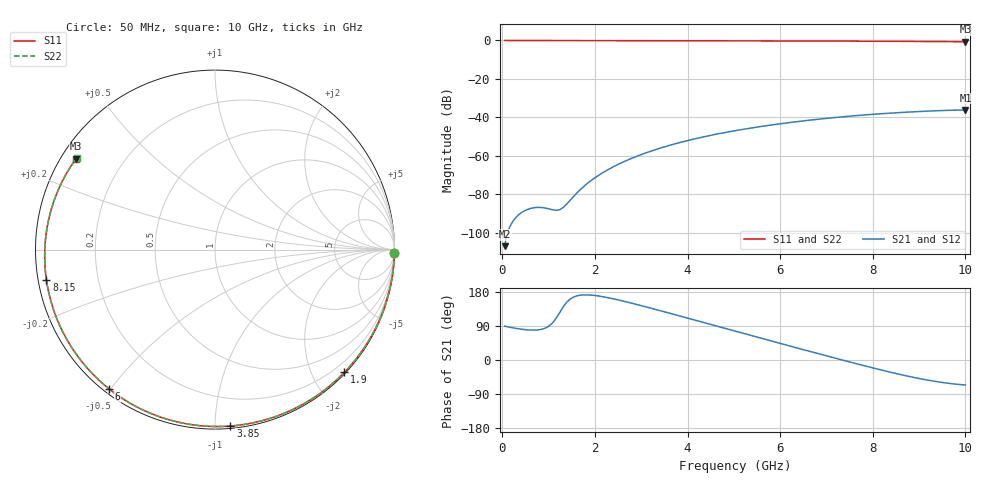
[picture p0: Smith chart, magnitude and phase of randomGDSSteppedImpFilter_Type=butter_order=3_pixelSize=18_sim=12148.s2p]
! freq	dB(S11)	phase(S11)	dB(S12)	phase(S12)
!  dB(S21)	phase(S21)	dB(S22)	phase(S22)
!S-par simulation data
#  GHz  S  DB  R 50
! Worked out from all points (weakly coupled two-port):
!   200 points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, 50 MHz to 10 GHz, reference 50 ohm
!   highest |S21| = -36.14 dB at 10 GHz (marker M1); lowest = -106.9 dB at 50 MHz (marker M2)
!   lowest |S11| = -0.7 dB at 10 GHz (marker M3), VSWR 25.70, Z = 2.12 + j14.9 ohm
!   |S11| at or under -10 dB: nowhere
!   |S22| runs from -0.7 to 0.0 dB; largest |S21 - S12| = 0
!   S11 on the Smith chart (normalised r, x): 50 MHz: 0, -97; 1.9 GHz: 0.02, -2.51; 3.85 GHz: 0.01, -1.09; 6 GHz: 0.02, -0.50; 8.15 GHz: 0.02, -0.09; 10 GHz: 0.04, +0.30
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0.05  -0.00 -1.2  -106.94 89.2  -106.94 89.2  -0.00 -1.2
0.8  -0.02 -18.6  -86.78 79.9  -86.78 79.9  -0.02 -18.6
1.55  -0.05 -35.7  -80.81 166.6  -80.81 166.6  -0.05 -35.7
1.6  -0.05 -36.8  -79.55 168.8  -79.55 168.8  -0.05 -36.8
1.75  -0.05 -40.1  -76.10 171.8  -76.10 171.8  -0.05 -40.2
1.9  -0.05 -43.5  -73.14 171.5  -73.14 171.5  -0.06 -43.5
2.2  -0.06 -50.1  -68.30 166.4  -68.30 166.4  -0.06 -50.1
2.55  -0.07 -57.7  -63.85 157.2  -63.85 157.2  -0.07 -57.7
2.95  -0.09 -66.3  -59.77 145.1  -59.77 145.1  -0.09 -66.3
3.4  -0.10 -75.7  -56.05 130.5  -56.05 130.5  -0.10 -75.8
3.85  -0.12 -85.0  -52.97 115.5  -52.97 115.5  -0.12 -85.0
4.45  -0.14 -97.1  -49.58 95.3  -49.58 95.3  -0.14 -97.1
5.05  -0.17 -108.9  -46.81 75.2  -46.81 75.2  -0.17 -108.9
6  -0.22 -127.3  -43.32 43.7  -43.32 43.7  -0.22 -127.3
6.7  -0.27 -140.8  -41.26 20.8  -41.26 20.8  -0.27 -140.8
7.45  -0.34 -155.5  -39.47 -3.5  -39.47 -3.5  -0.34 -155.6
8.15  -0.41 -169.8  -38.14 -25.4  -38.14 -25.4  -0.41 -169.9
8.35  -0.43 -174.0  -37.82 -31.3  -37.82 -31.3  -0.43 -174.1
8.8  -0.48 176.2  -37.19 -43.8  -37.19 -43.8  -0.48 176.1
9.2  -0.54 167.0  -36.72 -53.4  -36.72 -53.4  -0.54 166.8
9.6  -0.60 157.2  -36.35 -61.0  -36.35 -61.0  -0.60 157.0
10  -0.68 146.8  -36.14 -65.9  -36.14 -65.9  -0.68 146.5
